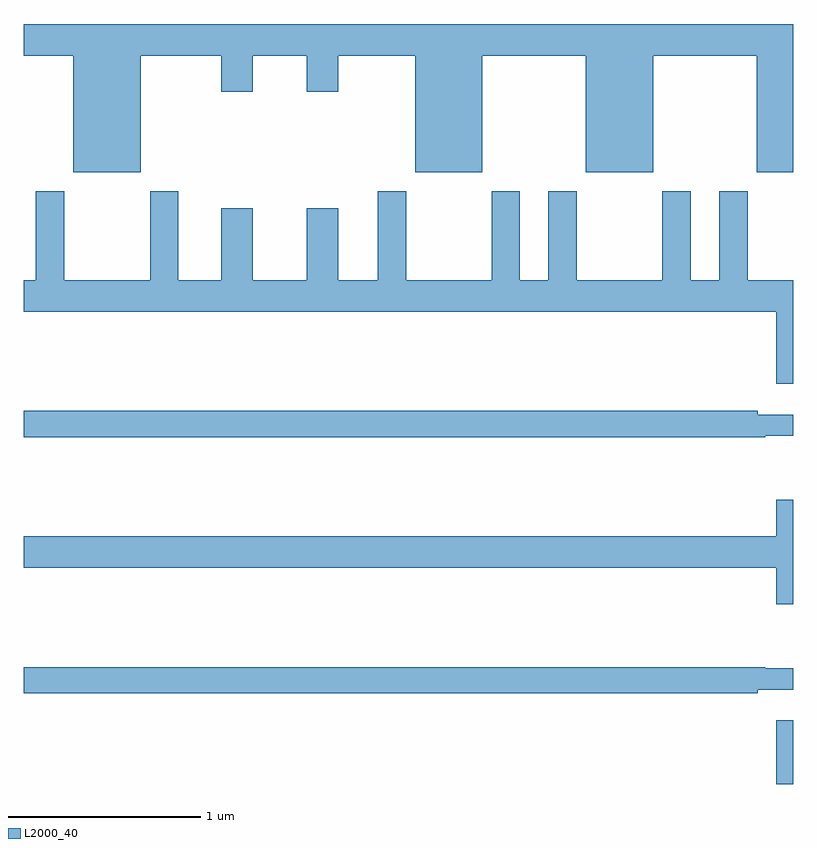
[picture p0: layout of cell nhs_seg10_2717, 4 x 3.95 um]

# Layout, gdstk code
import gdstk
lib = gdstk.Library(unit=1e-6, precision=1e-09)
def R(c, l, rs):  # rectangles x0, y0, x1, y1
    for r in rs: c.add(gdstk.rectangle(r[:2], r[2:], *l))
def P(c, l, *ps):  # polygons
    for p in ps: c.add(gdstk.Polygon(p, *l))
L2000_40 = (2000, 40)

nhs_seg10_2717 = lib.new_cell('nhs_seg10_2717')
R(nhs_seg10_2717, L2000_40, [(260.912,1324.5,261,1324.831)])
P(nhs_seg10_2717, L2000_40, [(257,1328.288),(257.258,1328.288),(257.258,1327.682),(257.608,1327.682),(257.608,1328.288),(258.026,1328.288),(258.026,1328.1),(258.19,1328.1),(258.19,1328.288),(258.47,1328.288),(258.47,1328.1),(258.634,1328.1),(258.634,1328.288),(259.034,1328.288),(259.034,1327.682),(259.384,1327.682),(259.384,1328.288),(259.922,1328.288),(259.922,1327.682),(260.272,1327.682),(260.272,1328.288),(260.81,1328.288),(260.81,1327.682),(261,1327.682),(261,1328.452),(257,1328.452)],
  [(261,1327.12),(260.763,1327.12),(260.763,1327.582),(260.615,1327.582),(260.615,1327.12),(260.467,1327.12),(260.467,1327.582),(260.32,1327.582),(260.32,1327.12),(259.875,1327.12),(259.875,1327.582),(259.727,1327.582),(259.727,1327.12),(259.579,1327.12),(259.579,1327.582),(259.432,1327.582),(259.432,1327.12),(258.987,1327.12),(258.987,1327.582),(258.839,1327.582),(258.839,1327.12),(258.634,1327.12),(258.634,1327.495),(258.47,1327.495),(258.47,1327.12),(258.19,1327.12),(258.19,1327.495),(258.026,1327.495),(258.026,1327.12),(257.803,1327.12),(257.803,1327.582),(257.656,1327.582),(257.656,1327.12),(257.211,1327.12),(257.211,1327.582),(257.063,1327.582),(257.063,1327.12),(257,1327.12),(257,1326.956),(260.912,1326.956),(260.912,1326.582),(261,1326.582)],
  [(260.855,1326.312),(261,1326.312),(261,1326.421),(260.816,1326.421),(260.816,1326.44),(257,1326.44),(257,1326.304),(260.855,1326.304)],
  [(261,1325.977),(260.912,1325.977),(260.912,1325.788),(257,1325.788),(257,1325.624),(260.912,1325.624),(260.912,1325.436),(261,1325.436)],
  [(260.816,1324.991),(261,1324.991),(261,1325.101),(260.855,1325.101),(260.855,1325.108),(257,1325.108),(257,1324.972),(260.816,1324.972)])

lib.write_gds('nhs_seg10_2717.gds')
